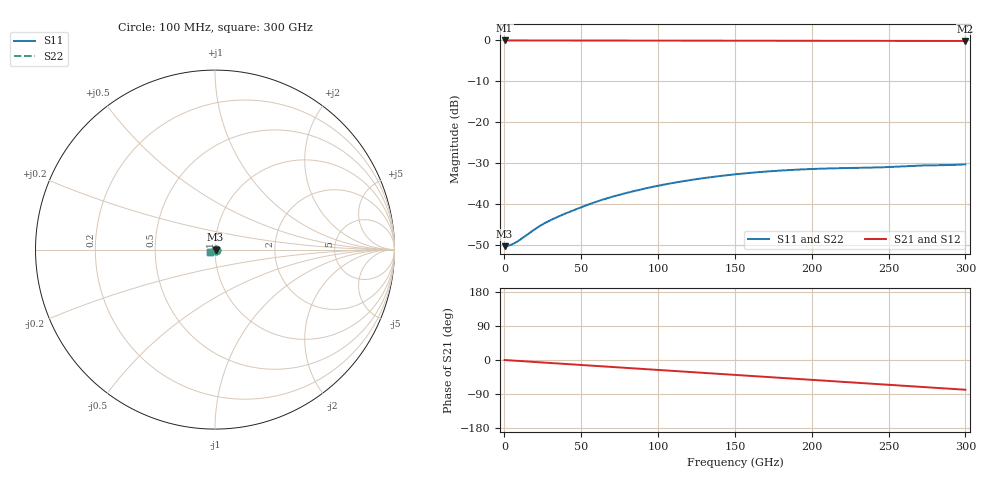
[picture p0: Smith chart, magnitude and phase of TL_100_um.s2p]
#  Hz  S  RI  R  50
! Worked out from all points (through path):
!   3000 points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, 100 MHz to 300 GHz, reference 50 ohm
!   highest |S21| = -0.03 dB at 100 MHz (marker M1); lowest = -0.2 dB at 300 GHz (marker M2)
!   group delay of S21, straight-line fit = 727 fs
!   lowest |S11| = -50.3 dB at 100 MHz (marker M3), VSWR 1.01, Z = 50.3 - j0.000548 ohm
!   |S11| at or under -10 dB: start of sweep to end of sweep
!   |S22| runs from -50.4 to -30.3 dB; largest |S21 - S12| = 0.00048
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1e8  0.00305 -5.45e-06  0.997 -0.000472  0.997 -0.000473  0.00302 -4.9e-06
3.4e9  0.00312 -0.000197  0.9968 -0.016  0.9968 -0.0161  0.0031 -0.000179
7e9  0.00332 -0.000476  0.9961 -0.0329  0.9961 -0.0329  0.00332 -0.000448
1.03e10  0.00358 -0.000841  0.9951 -0.0482  0.9951 -0.0482  0.00359 -0.000816
1.98e10  0.00424 -0.00251  0.9911 -0.0913  0.9911 -0.0913  0.00426 -0.00253
2.76e10  0.00431 -0.00421  0.987 -0.1263  0.9871 -0.1263  0.0043 -0.00423
3.61e10  0.004 -0.00594  0.9812 -0.1646  0.9812 -0.1646  0.00399 -0.00593
5.01e10  0.00326 -0.00855  0.9682 -0.2268  0.9682 -0.2268  0.00327 -0.00855
6.05e10  0.00243 -0.0105  0.9561 -0.2723  0.9562 -0.2723  0.00243 -0.0105
7.15e10  0.00126 -0.0124  0.941 -0.3199  0.941 -0.32  0.00126 -0.0124
8.65e10  -0.000614 -0.0147  0.9165 -0.3834  0.9165 -0.3833  -0.000606 -0.0147
1.001e11  -0.00263 -0.0165  0.8907 -0.4393  0.8907 -0.4394  -0.00263 -0.0165
1.118e11  -0.00455 -0.0178  0.8658 -0.4862  0.8657 -0.4861  -0.00454 -0.0178
1.251e11  -0.00685 -0.0189  0.8344 -0.5376  0.8345 -0.5376  -0.00685 -0.0189
1.501e11  -0.0114 -0.02  0.7673 -0.6289  0.7673 -0.6288  -0.0114 -0.02
1.744e11  -0.0157 -0.0198  0.6923 -0.7097  0.6922 -0.7096  -0.0157 -0.0198
2.001e11  -0.0194 -0.0184  0.6034 -0.7853  0.6033 -0.7854  -0.0195 -0.0184
2.26e11  -0.0221 -0.0165  0.505 -0.8499  0.505 -0.85  -0.0222 -0.0165
2.501e11  -0.0239 -0.0151  0.4073 -0.8979  0.4074 -0.8979  -0.0239 -0.0151
2.764e11  -0.0267 -0.0131  0.2976 -0.9378  0.2977 -0.9376  -0.0266 -0.013
2.894e11  -0.0275 -0.0118  0.2417 -0.9524  0.2418 -0.9527  -0.0275 -0.0118
3e11  -0.0285 -0.0108  0.1963 -0.9621  0.1958 -0.9621  -0.0286 -0.0107
